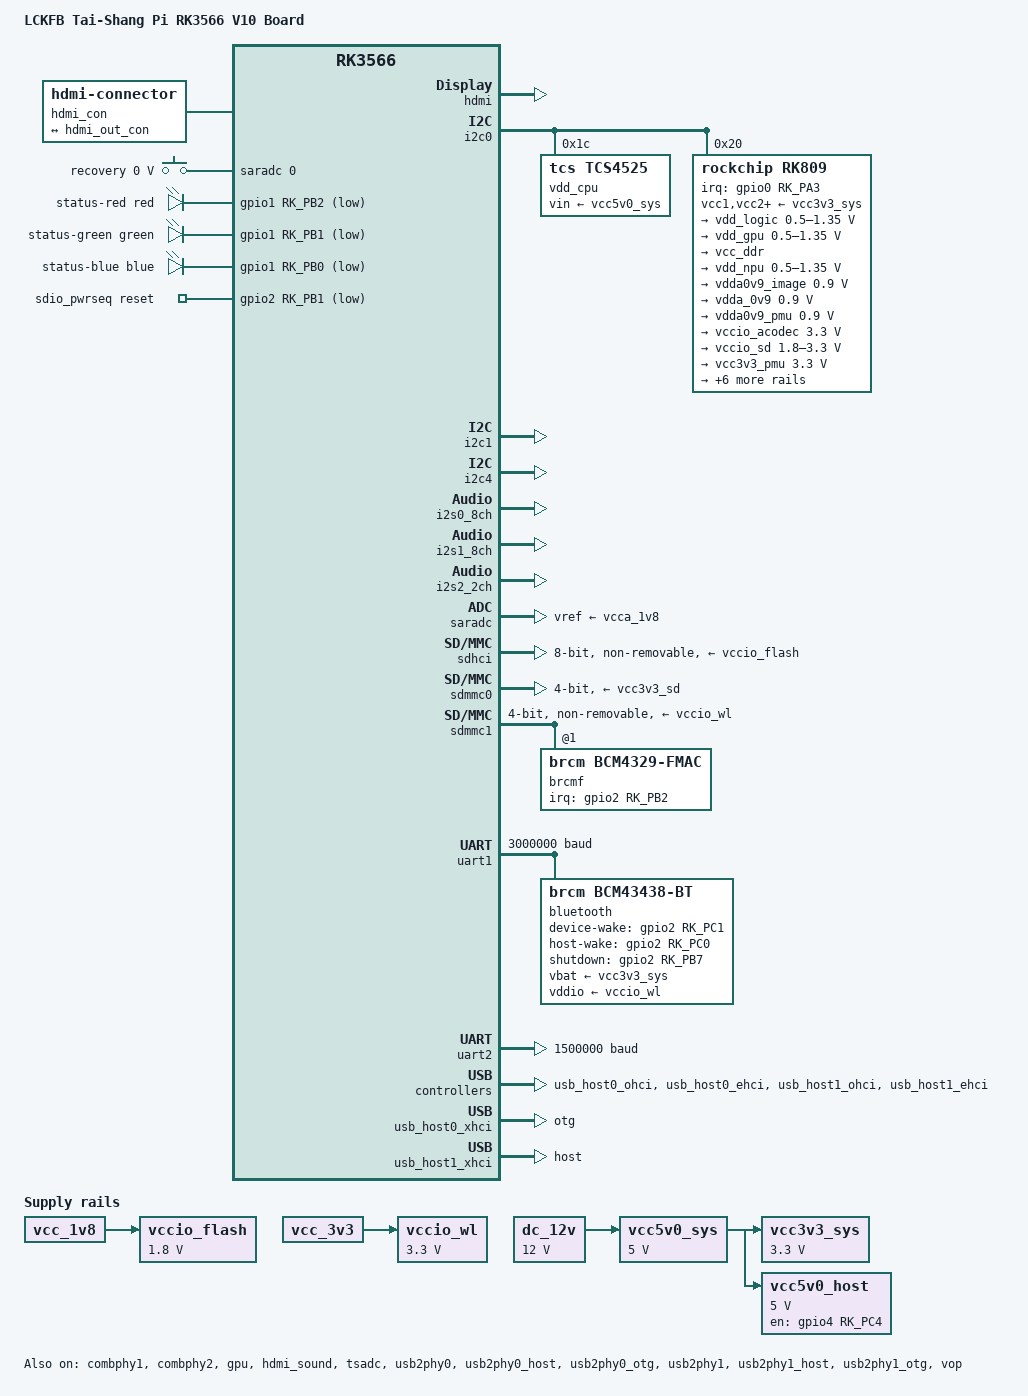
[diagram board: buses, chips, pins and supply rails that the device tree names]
// SPDX-License-Identifier: (GPL-2.0+ OR MIT)

/dts-v1/;

#include <dt-bindings/gpio/gpio.h>
#include <dt-bindings/input/input.h>
#include <dt-bindings/leds/common.h>
#include <dt-bindings/pinctrl/rockchip.h>
#include <dt-bindings/soc/rockchip,vop2.h>
#include <dt-bindings/soc/rockchip,boot-mode.h>
#include "rk3566.dtsi"

/ {
	model = "LCKFB Tai-Shang Pi RK3566 V10 Board";
	compatible = "lckfb,tspi-v10", "lckfb,tspi-rk3566", "rockchip,rk3566";

	aliases {
		mmc0 = &sdmmc0;
		mmc1 = &sdhci;
		mmc2 = &sdmmc1;
		wifi = &brcmf;
		bluetooth = &bluetooth;
	};

	chosen: chosen {
		stdout-path = "serial2:1500000n8";
	};

	/* Reserved memory */
	reserved-memory {
		#address-cells = <2>;
		#size-cells = <2>;
		ranges;

		/* Persistent Store in Memory */
		ramoops: ramoops@110000 {
			compatible = "ramoops";
			reg = <0 0x110000 0 0xf0000>;
			record-size = <0x20000>;
			console-size = <0x80000>;
			ftrace-size = <0x00000>;
			pmsg-size = <0x50000>;
		};
	};

	/* RK809 Codec Sound */
	sound {
		compatible = "simple-audio-card";
		simple-audio-card,format = "i2s";
		simple-audio-card,name = "Analog RK809";
		simple-audio-card,mclk-fs = <256>;

		simple-audio-card,cpu {
			sound-dai = <&i2s1_8ch>;
		};

		simple-audio-card,codec {
			sound-dai = <&rk809>;
		};
	};

	/* Micro HDMI Connector */
	hdmi_con: hdmi-con {
		compatible = "hdmi-connector";
		type = "d";

		port {
			hdmi_con_in: endpoint {
				remote-endpoint = <&hdmi_out_con>;
			};
		};
	};

	/* ADC Buttons */
	adc_keys: adc-keys {
		compatible = "adc-keys";
		io-channels = <&saradc 0>;
		io-channel-names = "buttons";
		keyup-threshold-microvolt = <1800000>;
		poll-interval = <100>;

		/* Recovery Button */
		recovery-key {
			label = "recovery";
			linux,code = <KEY_RESTART>;
			press-threshold-microvolt = <108>;
		};
	};

	/* RGB LEDs */
	leds: leds {
		compatible = "gpio-leds";
		rgb_led_r: rgb-led-r {
			label = "status-red";
			gpios = <&gpio1 RK_PB2 GPIO_ACTIVE_LOW>;
			color = <LED_COLOR_ID_RED>;
		};
		rgb_led_g: rgb-led-g {
			label = "status-green";
			gpios = <&gpio1 RK_PB1 GPIO_ACTIVE_LOW>;
			color = <LED_COLOR_ID_GREEN>;
		};
		rgb_led_b: rgb-led-b {
			label = "status-blue";
			gpios = <&gpio1 RK_PB0 GPIO_ACTIVE_LOW>;
			color = <LED_COLOR_ID_BLUE>;
		};
	};

	/* RGB Multicolor LED */
	multi_leds: multi-led {
		compatible = "leds-group-multicolor";
		color = <LED_COLOR_ID_RGB>;
		label = "status-rgb";
		function = LED_FUNCTION_INDICATOR;
		leds = <&rgb_led_r>, <&rgb_led_g>, <&rgb_led_b>;
	};

	/* WiFi Power Sequence */
	sdio_pwrseq: sdio-pwrseq {
		compatible = "mmc-pwrseq-simple";
		clocks = <&rk809 1>;
		clock-names = "ext_clock";
		pinctrl-names = "default";
		pinctrl-0 = <&wifi_enable_h>;
		post-power-on-delay-ms = <200>;
		reset-gpios = <&gpio2 RK_PB1 GPIO_ACTIVE_LOW>;
	};

	/* 12V Power Input (Optional) */
	dc_12v: dc-12v {
		compatible = "regulator-fixed";
		regulator-name = "dc_12v";
		regulator-always-on;
		regulator-boot-on;
		regulator-min-microvolt = <12000000>;
		regulator-max-microvolt = <12000000>;
	};

	/* 3.3V System Power (from 5V Power) */
	vcc3v3_sys: vcc3v3-sys {
		compatible = "regulator-fixed";
		regulator-name = "vcc3v3_sys";
		regulator-always-on;
		regulator-boot-on;
		regulator-min-microvolt = <3300000>;
		regulator-max-microvolt = <3300000>;
		vin-supply = <&vcc5v0_sys>;
	};

	/* 3.3V System Power (from DC 12V or VBUS 5V) */
	vcc5v0_sys: vcc5v0-sys {
		compatible = "regulator-fixed";
		regulator-name = "vcc5v0_sys";
		regulator-always-on;
		regulator-boot-on;
		regulator-min-microvolt = <5000000>;
		regulator-max-microvolt = <5000000>;
		vin-supply = <&dc_12v>;
	};

	/* USB Type-A 5V VBUS Output */
	vcc5v0_host: vcc5v0-host-regulator {
		compatible = "regulator-fixed";
		regulator-name = "vcc5v0_host";
		regulator-boot-on;
		regulator-always-on;
		regulator-min-microvolt = <5000000>;
		regulator-max-microvolt = <5000000>;
		enable-active-high;
		gpio = <&gpio4 RK_PC4 GPIO_ACTIVE_HIGH>;
		vin-supply = <&vcc5v0_sys>;
		pinctrl-names = "default";
		pinctrl-0 = <&vcc5v0_host_en>;
	};

	/* Power for Flash / eMMC (3.3V / 1.8V select by hardware) */
	vccio_flash: vccio-flash {
		compatible = "regulator-fixed";
		regulator-name = "vccio_flash";
		regulator-min-microvolt = <1800000>;
		regulator-max-microvolt = <1800000>;
		vin-supply = <&vcc_1v8>;
	};

	/* Power for SDIO WiFi / Bluetooth (3.3V / 1.8V select by hardware) */
	vccio_wl: vccio-wl {
		compatible = "regulator-fixed";
		regulator-name = "vccio_wl";
		regulator-min-microvolt = <3300000>;
		regulator-max-microvolt = <3300000>;
		vin-supply = <&vcc_3v3>;
	};

};

&combphy1 {
	status = "okay";
};

&combphy2 {
	status = "okay";
};

/* Dynamic Power for CPU 0 */
&cpu0 {
	cpu-supply = <&vdd_cpu>;
};

/* Dynamic Power for CPU 1 */
&cpu1 {
	cpu-supply = <&vdd_cpu>;
};

/* Dynamic Power for CPU 2 */
&cpu2 {
	cpu-supply = <&vdd_cpu>;
};

/* Dynamic Power for CPU 3 */
&cpu3 {
	cpu-supply = <&vdd_cpu>;
};

/* Mali GPU */
&gpu {
	mali-supply = <&vdd_gpu>;
	status = "okay";
};

/* HDMI Controller */
&hdmi {
	avdd-0v9-supply = <&vdda0v9_image>;
	avdd-1v8-supply = <&vcca1v8_image>;
	status = "okay";
};

/* HDMI Input (from Display Controller) */
&hdmi_in {
	hdmi_in_vp0: endpoint {
		remote-endpoint = <&vp0_out_hdmi>;
	};
};

/* HDMI Output (to HDMI Connector) */
&hdmi_out {
	hdmi_out_con: endpoint {
		remote-endpoint = <&hdmi_con_in>;
	};
};

/* HDMI Sound I2S */
&hdmi_sound {
	status = "okay";
};

/* I2C for PMIC */
&i2c0 {
	status = "okay";

	/* TCS4525 CPU Power */
	vdd_cpu: regulator@1c {
		compatible = "tcs,tcs4525";
		reg = <0x1c>;
		fcs,suspend-voltage-selector = <1>;
		regulator-name = "vdd_cpu";
		regulator-always-on;
		regulator-boot-on;
		regulator-min-microvolt = <800000>;
		regulator-max-microvolt = <1150000>;
		regulator-ramp-delay = <2300>;
		vin-supply = <&vcc5v0_sys>;

		regulator-state-mem {
			regulator-off-in-suspend;
		};
	};

	/* Main PMIC */
	rk809: pmic@20 {
		compatible = "rockchip,rk809";
		reg = <0x20>;
	
		interrupt-parent = <&gpio0>;
		interrupts = <RK_PA3 IRQ_TYPE_LEVEL_LOW>;
	
		/* Clock Output to SDIO WiFi / I2S Audio */
		#clock-cells = <1>;
		clock-output-names = "rk808-clkout1", "rk808-clkout2";
		clock-names = "mclk";
		clocks = <&cru I2S1_MCLKOUT_TX>;
		assigned-clocks = <&cru I2S1_MCLKOUT_TX>;
		assigned-clock-parents = <&cru CLK_I2S1_8CH_TX>;

		/* Builtin Audio Codec */
		#sound-dai-cells = <0>;
	
		/* Sleep pins */
		gpio-controller;
		#gpio-cells = <2>;
	
		pinctrl-names = "default", "pmic-sleep", "pmic-power-off", "pmic-reset";
		pinctrl-0 = <&pmic_int>, <&i2s1m0_mclk>;
		pinctrl-1 = <&soc_slppin_slp>, <&rk817_slppin_slp>;
		pinctrl-2 = <&soc_slppin_gpio>, <&rk817_slppin_pwrdn>;
		pinctrl-3 = <&soc_slppin_gpio>, <&rk817_slppin_rst>;
		rockchip,system-power-controller;
		wakeup-source;
	
		vcc1-supply = <&vcc3v3_sys>;
		vcc2-supply = <&vcc3v3_sys>;
		vcc3-supply = <&vcc3v3_sys>;
		vcc4-supply = <&vcc3v3_sys>;
		vcc5-supply = <&vcc3v3_sys>;
		vcc6-supply = <&vcc3v3_sys>;
		vcc7-supply = <&vcc3v3_sys>;
		vcc8-supply = <&vcc3v3_sys>;
		vcc9-supply = <&vcc3v3_sys>;

		rk817_slppin_null: rk817_slppin_null {
			pins = "gpio_slp";
			function = "pin_fun0";
		};

		rk817_slppin_slp: rk817_slppin_slp {
			pins = "gpio_slp";
			function = "pin_fun1";
		};

		rk817_slppin_pwrdn: rk817_slppin_pwrdn {
			pins = "gpio_slp";
			function = "pin_fun2";
		};

		rk817_slppin_rst: rk817_slppin_rst {
			pins = "gpio_slp";
			function = "pin_fun3";
		};

		pwrkey {
			status = "okay";
		};

		regulators {
			vdd_logic: DCDC_REG1 {
				regulator-always-on;
				regulator-boot-on;
				regulator-min-microvolt = <500000>;
				regulator-max-microvolt = <1350000>;
				regulator-init-microvolt = <900000>;
				regulator-ramp-delay = <6001>;
				regulator-initial-mode = <0x2>;
				regulator-name = "vdd_logic";
				regulator-state-mem {
					regulator-off-in-suspend;
				};
			};

			vdd_gpu: DCDC_REG2 {
				regulator-always-on;
				regulator-boot-on;
				regulator-min-microvolt = <500000>;
				regulator-max-microvolt = <1350000>;
				regulator-init-microvolt = <900000>;
				regulator-ramp-delay = <6001>;
				regulator-initial-mode = <0x2>;
				regulator-name = "vdd_gpu";
				regulator-state-mem {
					regulator-off-in-suspend;
				};
			};

			vcc_ddr: DCDC_REG3 {
				regulator-always-on;
				regulator-boot-on;
				regulator-initial-mode = <0x2>;
				regulator-name = "vcc_ddr";
				regulator-state-mem {
					regulator-on-in-suspend;
				};
			};

			vdd_npu: DCDC_REG4 {
				regulator-always-on;
				regulator-boot-on;
				regulator-min-microvolt = <500000>;
				regulator-max-microvolt = <1350000>;
				regulator-init-microvolt = <900000>;
				regulator-ramp-delay = <6001>;
				regulator-initial-mode = <0x2>;
				regulator-name = "vdd_npu";
				regulator-state-mem {
					regulator-off-in-suspend;
				};
			};

			vdda0v9_image: LDO_REG1 {
				regulator-boot-on;
				regulator-always-on;
				regulator-min-microvolt = <900000>;
				regulator-max-microvolt = <900000>;
				regulator-name = "vdda0v9_image";
				regulator-state-mem {
					regulator-off-in-suspend;
				};
			};

			vdda_0v9: LDO_REG2 {
				regulator-always-on;
				regulator-boot-on;
				regulator-min-microvolt = <900000>;
				regulator-max-microvolt = <900000>;
				regulator-name = "vdda_0v9";
				regulator-state-mem {
					regulator-off-in-suspend;
				};
			};

			vdda0v9_pmu: LDO_REG3 {
				regulator-always-on;
				regulator-boot-on;
				regulator-min-microvolt = <900000>;
				regulator-max-microvolt = <900000>;
				regulator-name = "vdda0v9_pmu";
				regulator-state-mem {
					regulator-on-in-suspend;
					regulator-suspend-microvolt = <900000>;
				};
			};

			vccio_acodec: LDO_REG4 {
				regulator-always-on;
				regulator-boot-on;
				regulator-min-microvolt = <3300000>;
				regulator-max-microvolt = <3300000>;
				regulator-name = "vccio_acodec";
				regulator-state-mem {
					regulator-off-in-suspend;
				};
			};

			vccio_sd: LDO_REG5 {
				regulator-always-on;
				regulator-boot-on;
				regulator-min-microvolt = <1800000>;
				regulator-max-microvolt = <3300000>;
				regulator-name = "vccio_sd";
				regulator-state-mem {
					regulator-off-in-suspend;
				};
			};

			vcc3v3_pmu: LDO_REG6 {
				regulator-always-on;
				regulator-boot-on;
				regulator-min-microvolt = <3300000>;
				regulator-max-microvolt = <3300000>;
				regulator-name = "vcc3v3_pmu";
				regulator-state-mem {
					regulator-on-in-suspend;
					regulator-suspend-microvolt = <3300000>;
				};
			};

			vcca_1v8: LDO_REG7 {
				regulator-always-on;
				regulator-boot-on;
				regulator-min-microvolt = <1800000>;
				regulator-max-microvolt = <1800000>;
				regulator-name = "vcca_1v8";
				regulator-state-mem {
					regulator-off-in-suspend;
				};
			};

			vcca1v8_pmu: LDO_REG8 {
				regulator-always-on;
				regulator-boot-on;
				regulator-min-microvolt = <1800000>;
				regulator-max-microvolt = <1800000>;
				regulator-name = "vcca1v8_pmu";
				regulator-state-mem {
					regulator-on-in-suspend;
					regulator-suspend-microvolt = <1800000>;
				};
			};

			vcca1v8_image: LDO_REG9 {
				regulator-always-on;
				regulator-boot-on;
				regulator-min-microvolt = <1800000>;
				regulator-max-microvolt = <1800000>;
				regulator-name = "vcca1v8_image";
				regulator-state-mem {
					regulator-off-in-suspend;
				};
			};

			vcc_1v8: DCDC_REG5 {
				regulator-always-on;
				regulator-boot-on;
				regulator-min-microvolt = <1800000>;
				regulator-max-microvolt = <1800000>;
				regulator-name = "vcc_1v8";
				regulator-state-mem {
					regulator-off-in-suspend;
				};
			};

			vcc_3v3: SWITCH_REG1 {
				regulator-always-on;
				regulator-boot-on;
				regulator-name = "vcc_3v3";
				regulator-state-mem {
					regulator-off-in-suspend;
				};
			};

			vcc3v3_sd: SWITCH_REG2 {
				regulator-always-on;
				regulator-boot-on;
				regulator-name = "vcc3v3_sd";
				regulator-state-mem {
					regulator-off-in-suspend;
				};
			};
		};

		codec {
			mic-in-differential;
		};
	};
};

/* I2C for Touch Screen */
&i2c1 {
	status = "okay";
};

/* I2C for Camera */
&i2c4 {
	pinctrl-names = "default";
	pinctrl-0 = <&i2c4m0_xfer>;
	status = "okay";
};

/* I2S for HDMI */
&i2s0_8ch {
	status = "okay";
};

/* I2S to PMIC */
&i2s1_8ch {
	pinctrl-names = "default";
	pinctrl-0 = <&i2s1m0_sclktx &i2s1m0_lrcktx &i2s1m0_sdi0 &i2s1m0_sdo0>;
	rockchip,trcm-sync-tx-only;
	status = "okay";
};

/* I2S to AP6212 */
&i2s2_2ch {
	rockchip,trcm-sync-tx-only;
	status = "okay";
};

/* RK3566 builtin pinctrl */
&pinctrl {
	/* AP6212 Bluetooth */
	bt {
		bt_enable_h: bt-enable-h {
			rockchip,pins = <2 RK_PB7 RK_FUNC_GPIO &pcfg_pull_none>;
		};

		bt_host_wake_l: bt-host-wake-l {
			rockchip,pins = <2 RK_PC0 RK_FUNC_GPIO &pcfg_pull_down>;
		};

		bt_wake_l: bt-wake-l {
			rockchip,pins = <2 RK_PC1 RK_FUNC_GPIO &pcfg_pull_none>;
		};
	};

	/* AP6212 Power Sequence */
	sdio-pwrseq {
		wifi_enable_h: wifi-enable-h {
			rockchip,pins = <2 RK_PB1 RK_FUNC_GPIO &pcfg_pull_none>;
		};

		wifi_host_wake_h: wifi-host-wake-l {
			rockchip,pins = <2 RK_PB2 RK_FUNC_GPIO &pcfg_pull_none>;
		};
	};

	/* Audio Headphone Detect */
	hp-detect {
		hp_det: hp-det {
			rockchip,pins = <4 RK_PC6 RK_FUNC_GPIO &pcfg_pull_up>;
		};
	};

	/* RK809 PMIC */
	pmic {
		pmic_int: pmic_int {
			rockchip,pins = <0 RK_PA3 RK_FUNC_GPIO &pcfg_pull_up>;
		};

		soc_slppin_gpio: soc_slppin_gpio {
			rockchip,pins = <0 RK_PA2 RK_FUNC_GPIO &pcfg_output_low>;
		};

		soc_slppin_slp: soc_slppin_slp {
			rockchip,pins = <0 RK_PA2 1 &pcfg_pull_up>;
		};

		soc_slppin_rst: soc_slppin_rst {
			rockchip,pins = <0 RK_PA2 2 &pcfg_pull_none>;
		};
	};

	/* USB Host / OTG */
	usb2 {
		vcc5v0_host_en: vcc5v0-host-en {
			rockchip,pins = <4 RK_PC4 RK_FUNC_GPIO &pcfg_pull_none>;
		};
	};
};

/* RK3566 builtin PMU */
&pmu_io_domains {
	pmuio1-supply = <&vcc3v3_pmu>;
	pmuio2-supply = <&vcc3v3_pmu>;
	vccio1-supply = <&vccio_acodec>;
	vccio2-supply = <&vccio_flash>;
	vccio3-supply = <&vccio_sd>;
	vccio4-supply = <&vccio_wl>;
	vccio5-supply = <&vcc_3v3>;
	vccio6-supply = <&vcc_1v8>;
	vccio7-supply = <&vcc_3v3>;
	status = "okay";
};

/* RK3566 PMU Reboot mode flag register */
&pmugrf {
	reboot-mode {
		compatible = "syscon-reboot-mode";
		offset = <0x200>;

		/* Reboot into Linux System */
		mode-normal = <BOOT_NORMAL>;

		/* Reboot into U-Boot RockUSB */
		mode-loader = <BOOT_BL_DOWNLOAD>;

		/* Reboot into Linux Recovery */
		mode-recovery = <BOOT_RECOVERY>;

		/* Reboot into U-Boot Fastboot */
		mode-bootloader = <BOOT_FASTBOOT>;

		/* Reboot into U-Boot USB Mass Storage */
		mode-ums = <(REBOOT_FLAG+12)>;

		/* Reboot into RK3566 BootROM RockUSB */
		mode-brom = <0xEF08A53C>;
	};
};

/* RK3566 ADC controller */
&saradc {
	vref-supply = <&vcca_1v8>;
	status = "okay";
	/* Channel 0: Recovery Button */
	/* Channel 1: Hardware ID */
};

/* eMMC */
&sdhci {
	bus-width = <8>;
	max-frequency = <200000000>;
	non-removable;
	pinctrl-names = "default";
	pinctrl-0 = <&emmc_bus8 &emmc_clk &emmc_cmd &emmc_datastrobe &emmc_rstnout>;
	supports-emmc;
	status = "okay";
	vmmc-supply = <&vccio_flash>;
	vqmmc-supply = <&vccio_flash>;
};

/* TF/SD Card */
&sdmmc0 {
	bus-width = <4>;
	cap-mmc-highspeed;
	cap-sd-highspeed;
	disable-wp;
	max-frequency = <150000000>;
	pinctrl-names = "default";
	pinctrl-0 = <&sdmmc0_bus4 &sdmmc0_clk &sdmmc0_cmd &sdmmc0_det>;
	sd-uhs-sdr104;
	status = "okay";
	supports-sd;
	vmmc-supply = <&vcc3v3_sd>;
	vqmmc-supply = <&vccio_sd>;
};

/* WiFi */
&sdmmc1 {
	bus-width = <4>;
	cap-sd-highspeed;
	cap-sdio-irq;
	disable-wp;
	keep-power-in-suspend;
	max-frequency = <150000000>;
	mmc-pwrseq = <&sdio_pwrseq>;
	non-removable;
	pinctrl-names = "default";
	pinctrl-0 = <&sdmmc1_bus4 &sdmmc1_cmd &sdmmc1_clk>;
	sd-uhs-sdr104;
	supports-sdio;
	status = "okay";
	vmmc-supply = <&vccio_wl>;
	vqmmc-supply = <&vccio_wl>;
	#address-cells = <1>;
	#size-cells = <0>;

	/* AP6212 */
	brcmf: wifi@1 {
		compatible = "brcm,bcm4329-fmac";
		reg = <1>;
		interrupt-parent = <&gpio2>;
		interrupts = <RK_PB2 IRQ_TYPE_LEVEL_HIGH>;
		interrupt-names = "host-wake";
		pinctrl-names = "default";
		pinctrl-0 = <&wifi_host_wake_h>;
	};
};


/* Thermal Sensors ADC controller */
&tsadc {
	rockchip,hw-tshut-mode = <1>;
	rockchip,hw-tshut-polarity = <0>;
	status = "okay";
};

/* AP6212 Bluetooth */
&uart1 {
	current-speed = <3000000>;
	pinctrl-names = "default";
	pinctrl-0 = <&uart1m0_xfer &uart1m0_ctsn &uart1m0_rtsn>;
	status = "okay";
	uart-has-rtscts;

	bluetooth: bluetooth {
		compatible = "brcm,bcm43438-bt";
		clocks = <&rk809 1>;
		clock-names = "lpo";
		device-wake-gpios = <&gpio2 RK_PC1 GPIO_ACTIVE_HIGH>;
		host-wake-gpios = <&gpio2 RK_PC0 GPIO_ACTIVE_HIGH>;
		max-speed = <3000000>;
		pinctrl-names = "default";
		pinctrl-0 = <&bt_host_wake_l &bt_wake_l &bt_enable_h>;
		shutdown-gpios = <&gpio2 RK_PB7 GPIO_ACTIVE_HIGH>;
		vbat-supply = <&vcc3v3_sys>;
		vddio-supply = <&vccio_wl>;
	};
};

/* Debug UART */
&uart2 {
	current-speed = <1500000>;
	pinctrl-names = "default";
	pinctrl-0 = <&uart2m0_xfer>;
	status = "okay";
};

/* USB Type-C Port (USB 1.0/1.1) */
&usb_host0_ohci {
	status = "okay";
};

/* USB Type-C Port (USB 2.0) */
&usb_host0_ehci {
	status = "okay";
};

/* USB Type-C Port (USB 3.0) */
&usb_host0_xhci {
	dr_mode = "otg";
	status = "okay";
};

/* USB Type-A Port (USB 1.0/1.1) */
&usb_host1_ohci {
	status = "okay";
};

/* USB Type-A Port (USB 2.0) */
&usb_host1_ehci {
	status = "okay";
};

/* USB Type-A Port (USB 3.0) */
&usb_host1_xhci {
	dr_mode = "host";
	status = "okay";
};

/* USB Type-C Port Phy */
&usb2phy0 {
	status = "okay";
};

/* USB Type-C Port Phy Host */
&usb2phy0_host {
	phy-supply = <&vcc5v0_sys>;
	status = "okay";
};

/* USB Type-C Port Phy OTG */
&usb2phy0_otg {
	phy-supply = <&vcc5v0_sys>;
	status = "okay";
};

/* USB Type-A Port Phy */
&usb2phy1 {
	status = "okay";
};

/* USB Type-A Port Phy Host */
&usb2phy1_host {
	phy-supply = <&vcc5v0_host>;
	status = "okay";
};

/* USB Type-A Port Phy OTG */
&usb2phy1_otg {
	phy-supply = <&vcc5v0_host>;
	status = "okay";
};

/* Display Controller */
&vop {
	assigned-clocks = <&cru DCLK_VOP0>, <&cru DCLK_VOP1>;
	assigned-clock-parents = <&pmucru PLL_HPLL>, <&cru PLL_VPLL>;
	status = "okay";
};

/* Display Controller IOMMU */
&vop_mmu {
	status = "okay";
};

/* Display Controller Port 0 */
&vp0 {
	vp0_out_hdmi: endpoint@ROCKCHIP_VOP2_EP_HDMI0 {
		reg = <ROCKCHIP_VOP2_EP_HDMI0>;
		remote-endpoint = <&hdmi_in_vp0>;
	};
};
